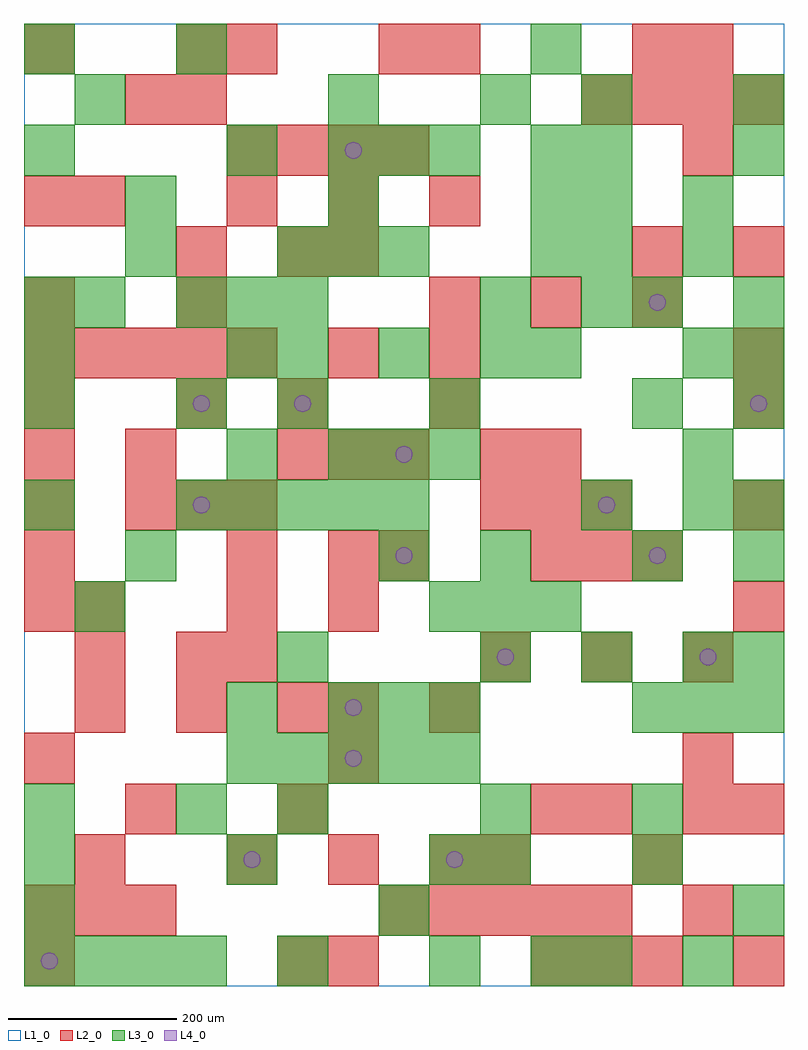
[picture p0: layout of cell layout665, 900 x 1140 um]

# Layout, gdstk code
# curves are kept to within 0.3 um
import gdstk
lib = gdstk.Library(unit=1e-6, precision=1e-09)
def R(c, l, rs):  # rectangles x0, y0, x1, y1
    for r in rs: c.add(gdstk.rectangle(r[:2], r[2:], *l))
def A(c, l, x, y, w, h, nx, ny, dx, dy):  # array of equal rectangles
    R(c, l, [(x+i*dx, y+j*dy, x+i*dx+w, y+j*dy+h) for i in range(nx) for j in range(ny)])
def P(c, l, *ps):  # polygons
    for p in ps: c.add(gdstk.Polygon(p, *l))
L1_0 = (1, 0)
L2_0 = (2, 0)
L3_0 = (3, 0)
L4_0 = (4, 0)

layout665 = lib.new_cell('layout665')
R(layout665, L1_0, [(0,0,900,1140)])
A(layout665, L2_0, 600, 0, 60, 60, 3, 2, 60, 480)
A(layout665, L2_0, 0, 60, 60, 60, 3, 1, 60, 0)
A(layout665, L2_0, 420, 60, 60, 60, 5, 1, 60, 0)
A(layout665, L2_0, 240, 120, 60, 60, 3, 2, 120, 780)
A(layout665, L2_0, 120, 180, 60, 60, 1, 3, 0, 420)
A(layout665, L2_0, 60, 300, 60, 60, 3, 1, 120, 0)
A(layout665, L2_0, 240, 360, 60, 60, 1, 3, 0, 60)
A(layout665, L2_0, 540, 360, 60, 60, 3, 1, 120, 0)
A(layout665, L2_0, 0, 420, 60, 60, 1, 5, 0, 60)
A(layout665, L2_0, 840, 420, 60, 60, 1, 3, 0, 120)
A(layout665, L2_0, 120, 540, 60, 60, 3, 1, 60, 0)
A(layout665, L2_0, 540, 540, 60, 60, 3, 1, 60, 0)
A(layout665, L2_0, 300, 600, 60, 60, 3, 1, 60, 0)
A(layout665, L2_0, 0, 720, 60, 60, 5, 1, 60, 0)
A(layout665, L2_0, 480, 780, 60, 60, 3, 1, 120, 0)
A(layout665, L2_0, 240, 960, 60, 60, 4, 1, 60, 0)
A(layout665, L2_0, 660, 1020, 60, 60, 4, 1, 60, 0)
R(layout665, L2_0, [(0,0,60,60), (300,0,360,60), (360,0,420,60), (840,0,900,60), (780,60,840,120), (60,120,120,180), (540,120,600,180), (720,120,780,180), (300,180,360,240), (600,180,660,240), (660,180,720,240), (780,180,840,240), (840,180,900,240), (0,240,60,300), (360,240,420,300), (780,240,840,300), (360,300,420,360), (480,300,540,360), (60,360,120,420), (180,360,240,420), (60,420,120,480), (360,420,420,480), (360,480,420,540), (420,480,480,540), (540,600,600,660), (600,600,660,660), (180,660,240,720), (300,660,360,720), (480,660,540,720), (360,720,420,780), (480,720,540,780), (840,720,900,780), (0,780,60,840), (180,780,240,840), (180,840,240,900), (300,840,360,900), (360,840,420,900), (720,840,780,900), (840,840,900,900), (0,900,60,960), (60,900,120,960), (780,960,840,1020), (180,1020,240,1080), (0,1080,60,1140), (180,1080,240,1140), (240,1080,300,1140), (420,1080,480,1140), (480,1080,540,1140), (720,1080,780,1140), (780,1080,840,1140)])
A(layout665, L3_0, 0, 0, 60, 60, 4, 1, 60, 0)
A(layout665, L3_0, 300, 0, 60, 60, 1, 3, 0, 180)
A(layout665, L3_0, 0, 60, 60, 60, 3, 1, 420, 0)
A(layout665, L3_0, 0, 120, 60, 60, 3, 1, 240, 0)
A(layout665, L3_0, 540, 180, 60, 60, 1, 3, 0, 300)
A(layout665, L3_0, 240, 240, 60, 60, 5, 1, 60, 0)
A(layout665, L3_0, 360, 300, 60, 60, 3, 2, 60, 300)
A(layout665, L3_0, 720, 300, 60, 60, 3, 1, 60, 0)
A(layout665, L3_0, 540, 360, 60, 60, 3, 1, 120, 0)
A(layout665, L3_0, 480, 420, 60, 60, 3, 1, 60, 0)
A(layout665, L3_0, 180, 540, 60, 60, 5, 1, 60, 0)
A(layout665, L3_0, 780, 600, 60, 60, 1, 3, 0, 120)
A(layout665, L3_0, 0, 660, 60, 60, 1, 3, 0, 60)
A(layout665, L3_0, 840, 660, 60, 60, 1, 3, 0, 60)
A(layout665, L3_0, 300, 720, 60, 60, 3, 1, 120, 0)
A(layout665, L3_0, 600, 720, 60, 60, 1, 4, 0, 120)
A(layout665, L3_0, 180, 780, 60, 60, 3, 1, 60, 0)
A(layout665, L3_0, 660, 780, 60, 60, 1, 5, 0, 60)
A(layout665, L3_0, 300, 840, 60, 60, 3, 1, 60, 0)
A(layout665, L3_0, 120, 900, 60, 60, 3, 1, 240, 0)
A(layout665, L3_0, 360, 960, 60, 60, 3, 1, 60, 0)
R(layout665, L3_0, [(480,0,540,60), (600,0,660,60), (660,0,720,60), (780,0,840,60), (540,120,600,180), (720,120,780,180), (0,180,60,240), (180,180,240,240), (720,180,780,240), (240,300,300,360), (840,360,900,420), (60,420,120,480), (120,480,180,540), (420,480,480,540), (720,480,780,540), (840,480,900,540), (0,540,60,600), (660,540,720,600), (780,540,840,600), (840,540,900,600), (240,600,300,660), (180,660,240,720), (300,660,360,720), (480,660,540,720), (720,660,780,720), (240,720,300,780), (60,780,120,840), (720,780,780,840), (120,840,180,900), (780,900,840,960), (0,960,60,1020), (240,960,300,1020), (840,960,900,1020), (60,1020,120,1080), (360,1020,420,1080), (540,1020,600,1080), (840,1020,900,1080), (0,1080,60,1140), (180,1080,240,1140)])
P(layout665, L4_0, [(40,30),(39.239,33.827),(37.071,37.071),(33.827,39.239),(30,40),(26.173,39.239),(22.929,37.071),(20.761,33.827),(20,30),(20.761,26.173),(22.929,22.929),(26.173,20.761),(30,20),(33.827,20.761),(37.071,22.929),(39.239,26.173)],
  [(220,570),(219.239,573.827),(217.071,577.071),(213.827,579.239),(210,580),(206.173,579.239),(202.929,577.071),(200.761,573.827),(200,570),(200.761,566.173),(202.929,562.929),(206.173,560.761),(210,560),(213.827,560.761),(217.071,562.929),(219.239,566.173)],
  [(220,690),(219.239,693.827),(217.071,697.071),(213.827,699.239),(210,700),(206.173,699.239),(202.929,697.071),(200.761,693.827),(200,690),(200.761,686.173),(202.929,682.929),(206.173,680.761),(210,680),(213.827,680.761),(217.071,682.929),(219.239,686.173)],
  [(280,150),(279.239,153.827),(277.071,157.071),(273.827,159.239),(270,160),(266.173,159.239),(262.929,157.071),(260.761,153.827),(260,150),(260.761,146.173),(262.929,142.929),(266.173,140.761),(270,140),(273.827,140.761),(277.071,142.929),(279.239,146.173)],
  [(340,690),(339.239,693.827),(337.071,697.071),(333.827,699.239),(330,700),(326.173,699.239),(322.929,697.071),(320.761,693.827),(320,690),(320.761,686.173),(322.929,682.929),(326.173,680.761),(330,680),(333.827,680.761),(337.071,682.929),(339.239,686.173)],
  [(400,270),(399.239,273.827),(397.071,277.071),(393.827,279.239),(390,280),(386.173,279.239),(382.929,277.071),(380.761,273.827),(380,270),(380.761,266.173),(382.929,262.929),(386.173,260.761),(390,260),(393.827,260.761),(397.071,262.929),(399.239,266.173)],
  [(400,330),(399.239,333.827),(397.071,337.071),(393.827,339.239),(390,340),(386.173,339.239),(382.929,337.071),(380.761,333.827),(380,330),(380.761,326.173),(382.929,322.929),(386.173,320.761),(390,320),(393.827,320.761),(397.071,322.929),(399.239,326.173)],
  [(400,990),(399.239,993.827),(397.071,997.071),(393.827,999.239),(390,1000),(386.173,999.239),(382.929,997.071),(380.761,993.827),(380,990),(380.761,986.173),(382.929,982.929),(386.173,980.761),(390,980),(393.827,980.761),(397.071,982.929),(399.239,986.173)],
  [(460,510),(459.239,513.827),(457.071,517.071),(453.827,519.239),(450,520),(446.173,519.239),(442.929,517.071),(440.761,513.827),(440,510),(440.761,506.173),(442.929,502.929),(446.173,500.761),(450,500),(453.827,500.761),(457.071,502.929),(459.239,506.173)],
  [(460,630),(459.239,633.827),(457.071,637.071),(453.827,639.239),(450,640),(446.173,639.239),(442.929,637.071),(440.761,633.827),(440,630),(440.761,626.173),(442.929,622.929),(446.173,620.761),(450,620),(453.827,620.761),(457.071,622.929),(459.239,626.173)],
  [(520,150),(519.239,153.827),(517.071,157.071),(513.827,159.239),(510,160),(506.173,159.239),(502.929,157.071),(500.761,153.827),(500,150),(500.761,146.173),(502.929,142.929),(506.173,140.761),(510,140),(513.827,140.761),(517.071,142.929),(519.239,146.173)],
  [(580,390),(579.239,393.827),(577.071,397.071),(573.827,399.239),(570,400),(566.173,399.239),(562.929,397.071),(560.761,393.827),(560,390),(560.761,386.173),(562.929,382.929),(566.173,380.761),(570,380),(573.827,380.761),(577.071,382.929),(579.239,386.173)],
  [(700,570),(699.239,573.827),(697.071,577.071),(693.827,579.239),(690,580),(686.173,579.239),(682.929,577.071),(680.761,573.827),(680,570),(680.761,566.173),(682.929,562.929),(686.173,560.761),(690,560),(693.827,560.761),(697.071,562.929),(699.239,566.173)],
  [(760,510),(759.239,513.827),(757.071,517.071),(753.827,519.239),(750,520),(746.173,519.239),(742.929,517.071),(740.761,513.827),(740,510),(740.761,506.173),(742.929,502.929),(746.173,500.761),(750,500),(753.827,500.761),(757.071,502.929),(759.239,506.173)],
  [(760,810),(759.239,813.827),(757.071,817.071),(753.827,819.239),(750,820),(746.173,819.239),(742.929,817.071),(740.761,813.827),(740,810),(740.761,806.173),(742.929,802.929),(746.173,800.761),(750,800),(753.827,800.761),(757.071,802.929),(759.239,806.173)],
  [(820,390),(819.239,393.827),(817.071,397.071),(813.827,399.239),(810,400),(806.173,399.239),(802.929,397.071),(800.761,393.827),(800,390),(800.761,386.173),(802.929,382.929),(806.173,380.761),(810,380),(813.827,380.761),(817.071,382.929),(819.239,386.173)],
  [(880,690),(879.239,693.827),(877.071,697.071),(873.827,699.239),(870,700),(866.173,699.239),(862.929,697.071),(860.761,693.827),(860,690),(860.761,686.173),(862.929,682.929),(866.173,680.761),(870,680),(873.827,680.761),(877.071,682.929),(879.239,686.173)])

lib.write_gds('layout665.gds')
